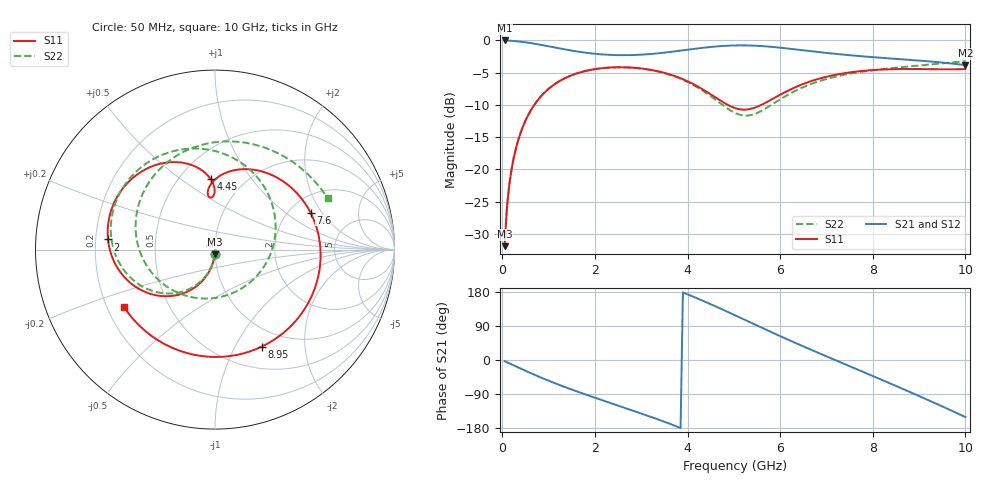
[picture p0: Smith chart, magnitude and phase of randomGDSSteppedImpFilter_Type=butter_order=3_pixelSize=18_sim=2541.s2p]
! freq	dB(S11)	phase(S11)	dB(S12)	phase(S12)
!  dB(S21)	phase(S21)	dB(S22)	phase(S22)
!S-par simulation data
#  GHz  S  DB  R 50
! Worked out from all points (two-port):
!   200 points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, 50 MHz to 10 GHz, reference 50 ohm
!   highest |S21| = -0.01 dB at 50 MHz (marker M1); lowest = -3.8 dB at 10 GHz (marker M2)
!   |S21| within 3 dB of the highest: start of sweep to 8.781 GHz
!   lowest |S11| = -31.9 dB at 50 MHz (marker M3), VSWR 1.05, Z = 49.8 - j2.53 ohm
!   |S11| at or under -10 dB: start of sweep to 691.2 MHz; 4.87 GHz to 5.595 GHz (725 MHz wide, 13.9 % of centre)
!   |S22| runs from -31.9 to -3.2 dB; largest |S21 - S12| = 0
!   S11 on the Smith chart (normalised r, x): 50 MHz: 1.00, -0.05; 2 GHz: 0.25, +0.04; 4.45 GHz: 0.71, +0.65; 7.6 GHz: 2.58, +1.58; 8.95 GHz: 0.76, -1.29; 10 GHz: 0.27, -0.27
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0.05  -31.91 -93.0  -0.01 -2.9  -0.01 -2.9  -31.91 -93.2
0.1  -25.92 -96.0  -0.02 -5.8  -0.02 -5.8  -25.92 -96.4
0.2  -20.00 -101.8  -0.06 -11.6  -0.06 -11.6  -20.00 -102.5
0.5  -12.45 -118.1  -0.29 -28.4  -0.29 -28.4  -12.45 -120.0
1.05  -7.21 -145.5  -0.99 -57.1  -0.99 -57.1  -7.22 -149.7
1.75  -4.82 -175.6  -1.86 -88.9  -1.86 -88.9  -4.83 176.6
2  -4.45 174.6  -2.07 -99.5  -2.07 -99.5  -4.46 165.3
2.65  -4.17 150.5  -2.29 -126.3  -2.29 -126.3  -4.18 136.0
3.4  -4.85 124.0  -1.97 -158.4  -1.97 -158.4  -4.89 99.0
3.95  -6.17 105.8  -1.49 175.8  -1.49 175.8  -6.27 66.4
4.45  -8.14 93.4  -1.05 150.0  -1.05 150.0  -8.40 28.5
5.05  -10.55 92.1  -0.77 116.7  -0.77 116.7  -11.32 -36.6
5.4  -10.55 96.6  -0.80 96.7  -0.80 96.7  -11.52 -83.1
5.8  -9.22 95.7  -0.99 74.1  -0.99 74.1  -10.04 -129.3
6.25  -7.51 84.3  -1.32 49.3  -1.32 49.3  -8.10 -167.9
6.7  -6.24 66.5  -1.70 25.3  -1.70 25.3  -6.67 162.4
7.15  -5.39 45.1  -2.05 1.8  -2.05 1.8  -5.70 137.5
7.6  -4.87 21.1  -2.36 -21.4  -2.36 -21.4  -5.04 115.6
8.35  -4.48 -23.6  -2.78 -60.4  -2.78 -60.4  -4.34 83.4
8.95  -4.43 -64.2  -3.10 -92.4  -3.10 -92.4  -3.92 60.5
9.5  -4.48 -105.8  -3.43 -122.4  -3.43 -122.4  -3.57 41.1
10  -4.44 -147.5  -3.83 -150.5  -3.83 -150.5  -3.23 24.5
